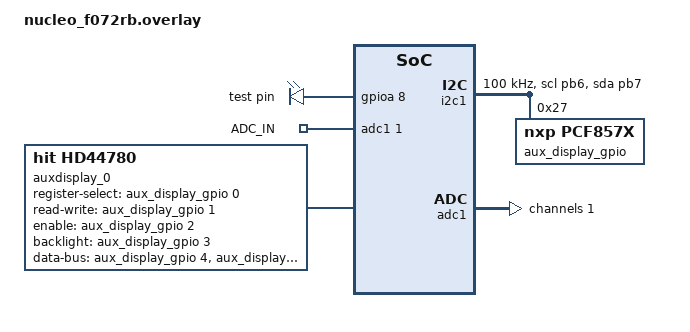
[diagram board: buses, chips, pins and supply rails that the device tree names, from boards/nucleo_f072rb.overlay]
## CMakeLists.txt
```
# SPDX-License-Identifier: Apache-2.0 OR MIT

cmake_minimum_required(VERSION 3.20.0)
find_package(Zephyr REQUIRED HINTS $ENV{ZEPHYR_BASE})
project(Project)

file(GLOB SRC_C_FILES CONFIGURE_DEPENDS "src/*.c")
target_sources(app PRIVATE ${SRC_C_FILES})

rust_cargo_application()
```

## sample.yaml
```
# See doc/develop/test/twister.rst for what is here.
sample:
  name: Driver Sample
common:
  filter: CONFIG_RUST_SUPPORTED
  platform_allow:
    - qemu_cortex_m0
    - qemu_cortex_m3
    - qemu_riscv32
    - qemu_riscv64
    - nrf52840dk/nrf52840
    - stm32f4_disco
    - rpi_pico
    - nucleo_f207zg
tests:
  sample.basic.drivers:
    tags:
      - I2C
      - ADC      
    filter: 
    depends_on: ADC
    harness: ADC
    integration_platforms:
      - stm32f4_disco
      - rpi_pico
      - nucleo_f207zg
```

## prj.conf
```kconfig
CONFIG_GPIO=y

CONFIG_ADC=y
CONFIG_ADC_ASYNC=y

CONFIG_DAC=y

CONFIG_RUST=y
CONFIG_RUST_ALLOC=y

CONFIG_DEBUG=y
CONFIG_MAIN_STACK_SIZE=4096
CONFIG_HEAP_MEM_POOL_SIZE=2048

CONFIG_SYS_CLOCK_TICKS_PER_SEC=10000

CONFIG_GPIO_ENABLE_DISABLE_INTERRUPT=y

CONFIG_GPIO_PCF857X=y
CONFIG_AUXDISPLAY=y

CONFIG_FPU=n
CONFIG_FPU_SHARING=n

#CONFIG_LOG=y
#CONFIG_LOG_DEFAULT_LEVEL=4

#Verify that userspace builds work.
#CONFIG_USERSPACE=y
CONFIG_BUILD_OUTPUT_HEX=y
```

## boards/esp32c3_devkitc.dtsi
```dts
#include <zephyr/dt-bindings/pinctrl/esp-pinctrl-common.h>
#include <dt-bindings/pinctrl/esp32c3-pinctrl.h>
#include <zephyr/dt-bindings/pinctrl/esp32c3-gpio-sigmap.h>

&pinctrl {

	pcf8574_pins: pcf8574_pins {
    	group1 {
                pinmux = <I2C0_SDA_GPIO4>,
                            <I2C0_SCL_GPIO5>;
                bias-pull-up;
                drive-open-drain;
                output-high;
            };
    };

	adc_in_pins: adc_in_pins { 
		group1 { 	
			pinmux = <ESP32_PINMUX(3, 3, ESP_NOSIG)>;
		}; 
	};	
};

&adc0 {
	pinctrl-0 = <&adc_in_pins>;
	pinctrl-names = "default";
	status = "okay";
};

&i2c0 { 
	status = "okay"; 
	clock-frequency = <I2C_BITRATE_STANDARD>; 
	pinctrl-0 = <&pcf8574_pins>; 
	pinctrl-names = "default"; 
};
```

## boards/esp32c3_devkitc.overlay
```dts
#include "esp32c3_devkitc.dtsi"

&i2c0 { 
	status = "okay"; 
	clock-frequency = <I2C_BITRATE_STANDARD>; 
	aux_display_gpio: pcf8574@27 {
		compatible = "nxp,pcf857x";
		reg = <0x27>;
		gpio-controller;
		ngpios = <8>;
		#gpio-cells = <2>;
	};		
};

/ { 	
	zephyr,user { 
		io-channels = <&adc0 3>;
		io-channel-names = "ADC_IN";	
	}; 
	auxdisplay_0: hd44780 {
		compatible = "hit,hd44780";
		columns = <16>;
		rows = <2>;
		mode = <4>;
		boot-delay-ms = <100>;
		register-select-gpios = <&aux_display_gpio 0 (GPIO_ACTIVE_HIGH)>;
		read-write-gpios    = <&aux_display_gpio 1 (GPIO_ACTIVE_HIGH)>;
		enable-gpios        = <&aux_display_gpio 2 (GPIO_ACTIVE_HIGH)>;
		backlight-gpios     = <&aux_display_gpio 3 (GPIO_ACTIVE_HIGH)>;
		data-bus-gpios      = <0>, <0>, <0>, <0>,
				<&aux_display_gpio 4 (GPIO_ACTIVE_HIGH)>,
				<&aux_display_gpio 5 (GPIO_ACTIVE_HIGH)>,
				<&aux_display_gpio 6 (GPIO_ACTIVE_HIGH)>,
				<&aux_display_gpio 7 (GPIO_ACTIVE_HIGH)>;
	};		
};

&adc0 {
	#address-cells = <1>;
	#size-cells = <0>;

	channel@3 {
		reg = <3>;
		zephyr,gain = "ADC_GAIN_1";
		zephyr,reference = "ADC_REF_INTERNAL";
		zephyr,acquisition-time = <ADC_ACQ_TIME_DEFAULT>;
		zephyr,resolution = <12>;
	};
};
```

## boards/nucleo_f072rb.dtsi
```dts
&adc1 {
	pinctrl-0 = <&adc_in1_pa1>;
	pinctrl-names = "default";
	st,adc-prescaler = <2>;
	status = "okay";
};

&dac1 {
 	pinctrl-0 = <&dac_out1_pa4>;
 	pinctrl-names = "default";	
 	status = "okay";
};
```

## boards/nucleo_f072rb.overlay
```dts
#include "nucleo_f072rb.dtsi"

&i2c1 {
	pinctrl-0 = <&i2c1_scl_pb6 &i2c1_sda_pb7>;
	pinctrl-names = "default";
	status = "okay";
	clock-frequency = <I2C_BITRATE_STANDARD>;
	aux_display_gpio: pcf8574@27 {
		compatible = "nxp,pcf857x";
		reg = <0x27>;
		gpio-controller;
		ngpios = <8>;
		#gpio-cells = <2>;
	};
};

/ {
	gpios {
		compatible = "gpio-leds";
		led_green: led_green {
			gpios = <&gpioa 8 (GPIO_ACTIVE_HIGH)>;
			label = "test pin";
		};								
	};		
	zephyr,user {
		io-channels = <&adc1 1>;
		io-channel-names = "ADC_IN";

		dac = <&dac1>;
		dac-channel-id = <1>;
		dac-resolution = <12>;			
	};		
	auxdisplay_0: hd44780 {
		compatible = "hit,hd44780";
		columns = <16>;
		rows = <2>;
		mode = <4>;
		boot-delay-ms = <100>;
		rs-line-delay-ns  = <0>;		
		enable-line-rise-delay-ns = <0>;
		enable-line-fall-delay-ns = <0>;
		register-select-gpios = <&aux_display_gpio 0 (GPIO_ACTIVE_HIGH)>;
		read-write-gpios    = <&aux_display_gpio 1 (GPIO_ACTIVE_HIGH)>;
		enable-gpios        = <&aux_display_gpio 2 (GPIO_ACTIVE_HIGH)>;
		backlight-gpios     = <&aux_display_gpio 3 (GPIO_ACTIVE_HIGH)>;
		data-bus-gpios      = <0>, <0>, <0>, <0>,
				<&aux_display_gpio 4 (GPIO_ACTIVE_HIGH)>,
				<&aux_display_gpio 5 (GPIO_ACTIVE_HIGH)>,
				<&aux_display_gpio 6 (GPIO_ACTIVE_HIGH)>,
				<&aux_display_gpio 7 (GPIO_ACTIVE_HIGH)>;
	};	
};

&adc1 {
	#address-cells = <1>;
	#size-cells = <0>;
	channel@1 {
		reg = <1>;
		zephyr,gain = "ADC_GAIN_1";
		zephyr,reference = "ADC_REF_INTERNAL";
		zephyr,acquisition-time = <ADC_ACQ_TIME_DEFAULT>;
		zephyr,resolution = <12>;
	};
};
```

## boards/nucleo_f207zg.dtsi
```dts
&adc1 {
	pinctrl-0 = <&adc1_in10_pc0>;
	pinctrl-names = "default";
	st,adc-prescaler = <2>;
	status = "okay";
};

&dac1 {
 	pinctrl-0 = <&dac_out1_pa4>;
 	pinctrl-names = "default";	
 	status = "okay";
};
```

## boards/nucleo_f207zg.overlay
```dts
#include "stm32f4_disco.dtsi"

&i2c3 {
	pinctrl-0 = <&i2c3_scl_pa8 &i2c3_sda_pc9>;
	pinctrl-names = "default";
	status = "okay";
	clock-frequency = <I2C_BITRATE_STANDARD>;
	aux_display_gpio: pcf8574@27 {
		compatible = "nxp,pcf857x";
		reg = <0x27>;
		gpio-controller;
		ngpios = <8>;
		#gpio-cells = <2>;
	};
};

/ {
	gpios {
		compatible = "gpio-leds";
		led_green: led_green {
			gpios = <&gpioa 5 (GPIO_ACTIVE_HIGH)>;
			label = "test pin";
		};								
	};		
	zephyr,user {
		/* adjust channel number according to pinmux in board.dts */
		io-channels = <&adc1 10>;
		io-channel-names = "ADC_IN";

		dac = <&dac1>;
		dac-channel-id = <1>;
		dac-resolution = <12>;			
	};		
	auxdisplay_0: hd44780 {
		compatible = "hit,hd44780";
		columns = <16>;
		rows = <2>;
		mode = <4>;
		boot-delay-ms = <100>;
		register-select-gpios = <&aux_display_gpio 0 (GPIO_ACTIVE_HIGH)>;
		read-write-gpios    = <&aux_display_gpio 1 (GPIO_ACTIVE_HIGH)>;
		enable-gpios        = <&aux_display_gpio 2 (GPIO_ACTIVE_HIGH)>;
		backlight-gpios     = <&aux_display_gpio 3 (GPIO_ACTIVE_HIGH)>;
		data-bus-gpios      = <0>, <0>, <0>, <0>,
				<&aux_display_gpio 4 (GPIO_ACTIVE_HIGH)>,
				<&aux_display_gpio 5 (GPIO_ACTIVE_HIGH)>,
				<&aux_display_gpio 6 (GPIO_ACTIVE_HIGH)>,
				<&aux_display_gpio 7 (GPIO_ACTIVE_HIGH)>;
	};	
};

&adc1 {
	#address-cells = <1>;
	#size-cells = <0>;
 
	channel@10 {
		reg = <10>;
		zephyr,gain = "ADC_GAIN_1";
		zephyr,reference = "ADC_REF_INTERNAL";
		zephyr,acquisition-time = <ADC_ACQ_TIME_DEFAULT>;
		zephyr,resolution = <12>;
	};
};
```

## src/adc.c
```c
// Copyright (c) 2025
// SPDX-License-Identifier: Apache-2.0
// Coskun ERGAN <coskunergan@gmail.com>

#include <zephyr/kernel.h>
#include <zephyr/devicetree.h>
#include <zephyr/drivers/adc.h>

#if !DT_NODE_EXISTS(DT_PATH(zephyr_user)) || \
	!DT_NODE_HAS_PROP(DT_PATH(zephyr_user), io_channels)
#error "No suitable devicetree overlay specified"
#endif

#define DT_SPEC_AND_COMMA(node_id, prop, idx) \
	ADC_DT_SPEC_GET_BY_IDX(node_id, idx),

const struct adc_dt_spec adc_channels[] =
{
    DT_FOREACH_PROP_ELEM(DT_PATH(zephyr_user), io_channels, DT_SPEC_AND_COMMA)
};

const size_t adc_channels_len = ARRAY_SIZE(adc_channels);

const struct adc_dt_spec *get_adc_channels(void)
{
    return adc_channels;
}

const size_t get_adc_channels_len(void)
{
    return adc_channels_len;
}

typedef void (*adc_callback_t)(void *, size_t, int16_t);

struct adc_isr_context
{
    struct k_work work;
    int16_t buffer;
    int16_t *sample;
    adc_callback_t done_cb;
    adc_callback_t done_cb_isr;
    enum adc_action state;
    struct adc_obj *self;
    void *user_data;
};

struct adc_obj
{
    struct adc_sequence_options options;
    struct adc_sequence sequence;
    size_t channel_count;
    size_t channel_index;
    struct adc_isr_context isr_context;
};

static void adc_soft_isr(struct k_work *work);
static enum adc_action adc_hard_isr(const struct device *dev, const struct adc_sequence *seq, uint16_t sampling_index);

struct adc_obj *adc_new(void)
{
    struct adc_obj *adc = k_malloc(sizeof(struct adc_obj));
    if(!adc)
    {
        return NULL;
    }

    adc->channel_count = adc_channels_len;
    if(adc->channel_count == 0)
    {
        k_free(adc);
        return NULL;
    }

    for(size_t i = 0; i < adc->channel_count; i++)
    {
        if(!device_is_ready(adc_channels[i].dev))
        {
            k_free(adc);
            return NULL;
        }
        int err = adc_channel_setup_dt(&adc_channels[i]);
        if(err < 0)
        {
            k_free(adc);
            return NULL;
        }
    }

    adc->isr_context.sample = k_malloc(adc->channel_count * sizeof(int16_t));
    if(!adc->isr_context.sample)
    {
        k_free(adc);
        return NULL;
    }
    for(size_t i = 0; i < adc->channel_count; i++)
    {
        adc->isr_context.sample[i] = 0;
    }

    adc->channel_index = 0;
    adc->isr_context.buffer = 0;
    adc->isr_context.done_cb = NULL;
    adc->isr_context.done_cb_isr = NULL;
    adc->isr_context.state = ADC_ACTION_CONTINUE;
    adc->isr_context.self = adc;
    adc->isr_context.user_data = NULL;

    k_work_init(&adc->isr_context.work, adc_soft_isr);

    adc->options = (struct adc_sequence_options)
    {
        .interval_us = 0,
        .callback = adc_hard_isr,
        .user_data = &adc->isr_context,
        .extra_samplings = 0,
    };

    return adc;
}

int adc_async_read(struct adc_obj *adc, uint32_t interval_us, adc_callback_t handler, void *user_data)
{
    if(!adc || adc->channel_index >= adc->channel_count)
    {
        return -EINVAL;
    }

    adc->options.interval_us = interval_us;

    adc->sequence = (struct adc_sequence)
    {
        .options = &adc->options,
        .channels = BIT(adc_channels[adc->channel_index].channel_cfg.channel_id),
        .buffer = &adc->isr_context.buffer,
        .buffer_size = sizeof(adc->isr_context.buffer),
        .resolution = adc_channels[adc->channel_index].resolution,
        .calibrate = false,
        .oversampling = 0,
    };

    adc->isr_context.done_cb = handler;
    adc->isr_context.done_cb_isr = NULL;
    adc->isr_context.state = ADC_ACTION_CONTINUE;
    adc->isr_context.user_data = user_data;

    return adc_read_async(adc_channels[adc->channel_index].dev, &adc->sequence, NULL);
}

int adc_async_read_isr(struct adc_obj *adc, uint32_t interval_us, adc_callback_t handler, void *user_data)
{
    if(!adc || adc->channel_index >= adc->channel_count)
    {
        return -EINVAL;
    }

    adc->options.interval_us = interval_us;

    adc->sequence = (struct adc_sequence)
    {
        .options = &adc->options,
        .channels = BIT(adc_channels[adc->channel_index].channel_cfg.channel_id),
        .buffer = &adc->isr_context.buffer,
        .buffer_size = sizeof(adc->isr_context.buffer),
        .resolution = adc_channels[adc->channel_index].resolution,
        .calibrate = false,
        .oversampling = 0,
    };

    adc->isr_context.done_cb = NULL;
    adc->isr_context.done_cb_isr = handler;
    adc->isr_context.state = ADC_ACTION_CONTINUE;
    adc->isr_context.user_data = user_data;

    return adc_read_async(adc_channels[adc->channel_index].dev, &adc->sequence, NULL);
}

void adc_cancel_read(struct adc_obj *adc)
{
    if(adc)
    {
        adc->isr_context.state = ADC_ACTION_FINISH;
    }
}

int32_t adc_get_voltage(struct adc_obj *adc, size_t idx)
{
    if(!adc || idx >= adc->channel_count)
    {
        return 0;
    }
    int32_t val_mv = adc->isr_context.sample[idx];
    if(adc_channels[idx].channel_cfg.differential)
    {
        val_mv = (int32_t)((int16_t)val_mv);
    }
    adc_raw_to_millivolts_dt(&adc_channels[idx], &val_mv);
    return val_mv;
}

int32_t adc_get_value(struct adc_obj *adc, size_t idx)
{
    if(!adc || idx >= adc->channel_count)
    {
        return 0;
    }
    int32_t val = adc->isr_context.sample[idx];
    if(adc_channels[idx].channel_cfg.differential)
    {
        val = (int32_t)((int16_t)val);
    }
    return val;
}

void adc_free(struct adc_obj *adc)
{
    if(adc)
    {
        k_free(adc->isr_context.sample);
        k_free(adc);
    }
}

static void adc_soft_isr(struct k_work *work)
{
    struct adc_isr_context *context = CONTAINER_OF(work, struct adc_isr_context, work);
    struct adc_obj *adc = context->self;

    if(adc->channel_count > 1)
    {
        size_t next_index = adc->channel_index;
        if(next_index < adc->channel_count)
        {
            adc->sequence.channels = BIT(adc_channels[next_index].channel_cfg.channel_id);
            adc->sequence.resolution = adc_channels[next_index].resolution;
            int res = adc_read_async(adc_channels[next_index].dev, &adc->sequence, NULL);
            if(res != 0)
            {
                return;
            }
        }
    }

    if(context->done_cb)
    {
        size_t idx = (adc->channel_index == 0) ? (adc->channel_count - 1) : (adc->channel_index - 1);
        if(idx < adc->channel_count)
        {
            context->done_cb(context->user_data, idx, context->sample[idx]);
        }
    }
}

static enum adc_action adc_hard_isr(const struct device *dev, const struct adc_sequence *seq, uint16_t sampling_index)
{
    struct adc_isr_context *context = seq->options->user_data;
    struct adc_obj *adc = context->self;

    if(adc->channel_index < adc->channel_count)
    {
        context->sample[adc->channel_index] = context->buffer;
    }

    if(context->state != ADC_ACTION_FINISH)
    {
        if(adc->channel_count == 1)
        {
            context->state = ADC_ACTION_REPEAT;
            if(context->done_cb_isr)
            {
                context->done_cb_isr(context->user_data, 0, context->sample[0]);
            }
            else
            {
                k_work_submit(&context->work);
            }
        }
        else if(++adc->channel_index < adc->channel_count)
        {
            context->state = ADC_ACTION_CONTINUE;
            if(context->done_cb_isr)
            {
                context->done_cb_isr(context->user_data, adc->channel_index - 1, context->sample[adc->channel_index - 1]);
            }
            else
            {
                k_work_submit(&context->work);
            }
        }
        else
        {
            if(context->state != ADC_ACTION_REPEAT)
            {
                context->state = ADC_ACTION_REPEAT;
                adc->channel_index--;
            }
            else
            {
                context->state = ADC_ACTION_CONTINUE;
                adc->channel_index = 0;
                if(context->done_cb_isr)
                {
                    context->done_cb_isr(context->user_data, adc->channel_count - 1, context->sample[adc->channel_count - 1]);
                }
                else
                {
                    k_work_submit(&context->work);
                }
            }
        }
    }

    return context->state;
}
```

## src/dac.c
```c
// Copyright (c) 2025
// SPDX-License-Identifier: Apache-2.0
// Coskun ERGAN <coskunergan@gmail.com>

#include <zephyr/kernel.h>
#include <zephyr/devicetree.h>
#include <zephyr/drivers/dac.h>

#if !DT_NODE_HAS_PROP(DT_PATH(zephyr_user), dac) || \
	!DT_NODE_HAS_PROP(DT_PATH(zephyr_user), dac_channel_id) || \
	!DT_NODE_HAS_PROP(DT_PATH(zephyr_user), dac_resolution)

#warning "DAC properties missing in devicetree"
int dac_init(void){return -1;}
int dac_write(uint32_t value){return 0;}
#else

#define DAC_NODE DT_PHANDLE(DT_PATH(zephyr_user), dac)
#define DAC_CHANNEL_ID DT_PROP(DT_PATH(zephyr_user), dac_channel_id)
#define DAC_RESOLUTION DT_PROP(DT_PATH(zephyr_user), dac_resolution)

static const struct device *const dac_dev = DEVICE_DT_GET(DAC_NODE);

static const struct dac_channel_cfg dac_ch_cfg =
{
    .channel_id = DAC_CHANNEL_ID,
    .resolution = DAC_RESOLUTION,
    .buffered = true
};

int dac_init(void)
{
    if(!device_is_ready(dac_dev))
    {
        return -ENODEV;
    }
    return dac_channel_setup(dac_dev, &dac_ch_cfg);
}

int dac_write(uint32_t value)
{
    return dac_write_value(dac_dev, DAC_CHANNEL_ID, value);
}
#endif
```

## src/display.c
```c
// Copyright (c) 2025
// SPDX-License-Identifier: Apache-2.0
// Coskun ERGAN <coskunergan@gmail.com>

#include <zephyr/kernel.h>
#include <zephyr/devicetree.h>
#include <zephyr/device.h>
#include <zephyr/drivers/auxdisplay.h>
#include <zephyr/logging/log.h>

LOG_MODULE_REGISTER(auxdisplay, LOG_LEVEL_DBG);

static const struct device *const display_dev = DEVICE_DT_GET(DT_NODELABEL(auxdisplay_0));

int display_init()
{
    if(!device_is_ready(display_dev))
    {
        LOG_ERR("Auxdisplay device is not ready.");
        return -ENODEV;
    }
    return 0;
}

int display_write(const uint8_t *data, uint16_t len)
{
    return auxdisplay_write(display_dev, data, len);
}

int display_clear(void)
{
    return auxdisplay_clear(display_dev);
}

int display_set_cursor(bool state)
{
    return auxdisplay_cursor_set_enabled(display_dev, state);
}

int display_set_backlight(uint8_t state)
{
    return auxdisplay_backlight_set(display_dev, state);
}
```
